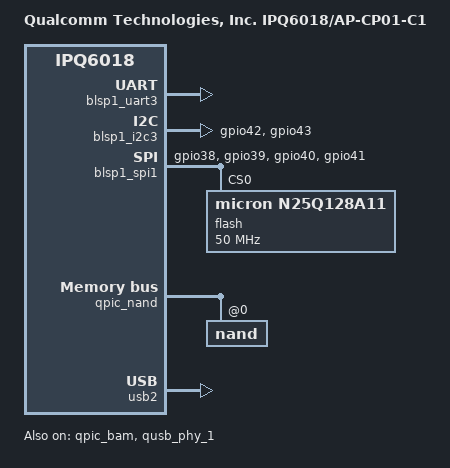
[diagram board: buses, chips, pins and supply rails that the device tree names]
// SPDX-License-Identifier: (GPL-2.0+ OR BSD-3-Clause)
/*
 * IPQ6018 CP01 board device tree source
 *
 * Copyright (c) 2019, The Linux Foundation. All rights reserved.
 */

/dts-v1/;

#include "ipq6018.dtsi"

/ {
	model = "Qualcomm Technologies, Inc. IPQ6018/AP-CP01-C1";
	compatible = "qcom,ipq6018-cp01", "qcom,ipq6018";

	aliases {
		serial0 = &blsp1_uart3;
	};

	chosen {
		stdout-path = "serial0:115200n8";
	};
};

&blsp1_uart3 {
	pinctrl-0 = <&serial_3_pins>;
	pinctrl-names = "default";
	status = "okay";
};

&blsp1_i2c3 {
	pinctrl-0 = <&i2c_1_pins>;
	pinctrl-names = "default";
	status = "okay";
};

&blsp1_spi1 {
	pinctrl-0 = <&spi_0_pins>;
	pinctrl-names = "default";
	status = "okay";

	flash@0 {
		#address-cells = <1>;
		#size-cells = <1>;
		reg = <0>;
		compatible = "micron,n25q128a11", "jedec,spi-nor";
		spi-max-frequency = <50000000>;
	};
};

&tlmm {
	i2c_1_pins: i2c-1-state {
		pins = "gpio42", "gpio43";
		function = "blsp2_i2c";
		drive-strength = <8>;
	};

	spi_0_pins: spi-0-state {
		pins = "gpio38", "gpio39", "gpio40", "gpio41";
		function = "blsp0_spi";
		drive-strength = <8>;
		bias-pull-down;
	};
};

&qpic_bam {
	status = "okay";
};

&qpic_nand {
	status = "okay";

	nand@0 {
		reg = <0>;

		nand-ecc-strength = <4>;
		nand-ecc-step-size = <512>;
		nand-bus-width = <8>;
	};
};

&qusb_phy_1 {
	status = "okay";
};

&usb2 {
	status = "okay";
};
